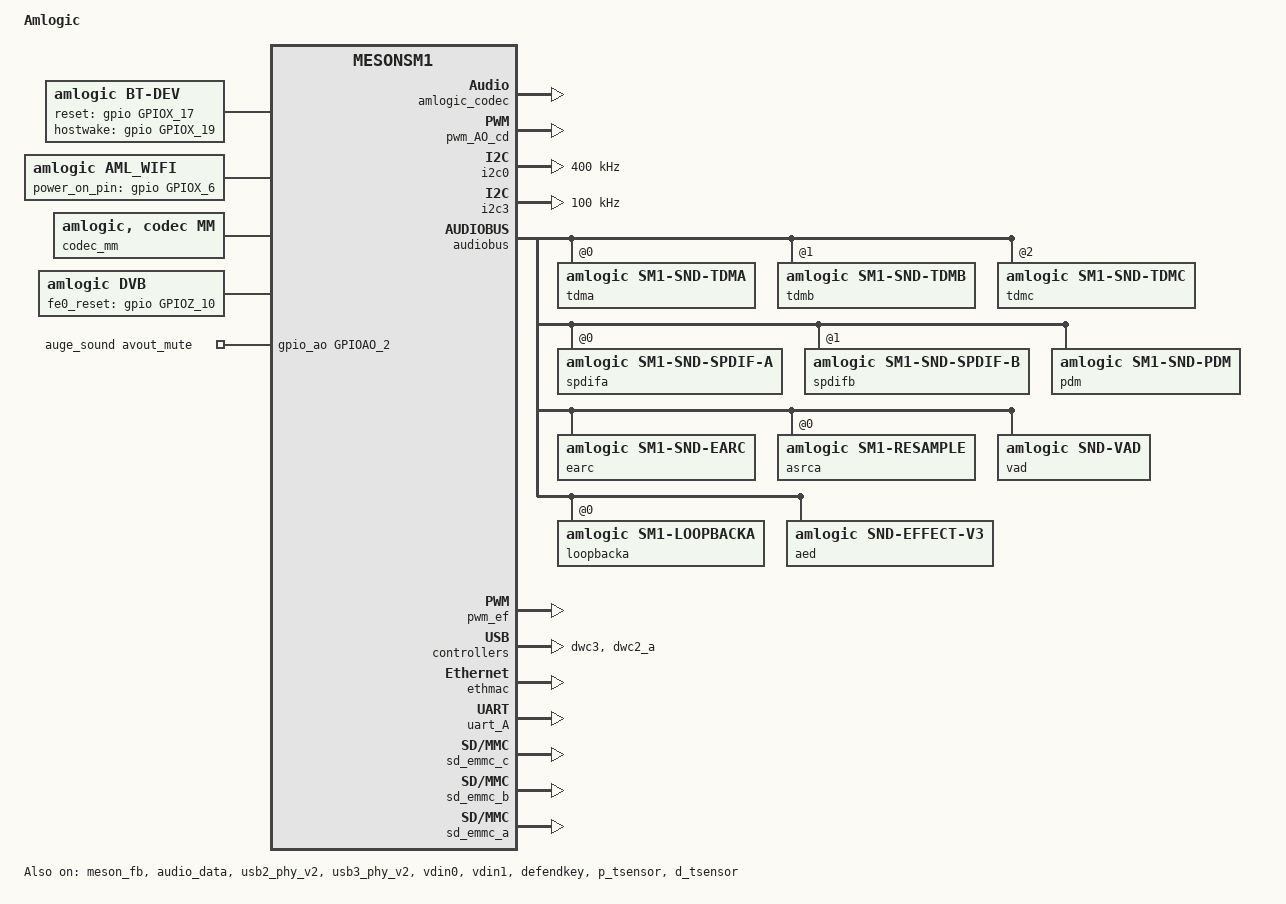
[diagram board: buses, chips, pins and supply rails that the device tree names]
/*
 * arch/arm64/boot/dts/amlogic/sm1_s905x3_ac213.dts
 *
 * Copyright (C) 2017 Amlogic, Inc. All rights reserved.
 *
 * This program is free software; you can redistribute it and/or modify
 * it under the terms of the GNU General Public License as published by
 * the Free Software Foundation; either version 2 of the License, or
 * (at your option) any later version.
 *
 * This program is distributed in the hope that it will be useful, but WITHOUT
 * ANY WARRANTY; without even the implied warranty of MERCHANTABILITY or
 * FITNESS FOR A PARTICULAR PURPOSE.  See the GNU General Public License for
 * more details.
 *
 */

/dts-v1/;

#include "mesonsm1.dtsi"
#include "partition_mbox_normal.dtsi"
#include "mesonsm1_skt-panel.dtsi"

/ {
	model = "Amlogic";
	amlogic-dt-id = "sm1_ac213_2g";
	compatible = "amlogic, g12a";
	interrupt-parent = <&gic>;
	#address-cells = <1>;
	#size-cells = <1>;

	aliases {
		serial0 = &uart_AO;
		serial1 = &uart_A;
		serial2 = &uart_B;
		serial3 = &uart_C;
		serial4 = &uart_AO_B;
		tsensor0 = &p_tsensor;
		tsensor1 = &d_tsensor;
		i2c0 = &i2c0;
		i2c1 = &i2c1;
		i2c2 = &i2c2;
		i2c3 = &i2c3;
		i2c4 = &i2c_AO;
	};

	memory@00000000 {
		device_type = "memory";
		linux,usable-memory = <0x000000 0x80000000>;
	};

	reserved-memory {
		#address-cells = <1>;
		#size-cells = <1>;
		ranges;
		/* global autoconfigured region for contiguous allocations */
		ramoops@0x07400000 {
			compatible = "ramoops";
			reg = <0x07400000 0x00100000>;
			record-size = <0x8000>;
			console-size = <0x8000>;
			ftrace-size = <0x40000>;
		};

		secmon_reserved:linux,secmon {
			compatible = "shared-dma-pool";
			reusable;
			size = <0x400000>;
			alignment = <0x400000>;
			alloc-ranges = <0x05000000 0x400000>;
		};
		secos_reserved:linux,secos {
			status = "disable";
			compatible = "amlogic, aml_secos_memory";
			reg = <0x05300000 0x2000000>;
			no-map;
		};
		logo_reserved:linux,meson-fb {
			compatible = "shared-dma-pool";
			reusable;
			size = <0x800000>;
			alignment = <0x400000>;
			alloc-ranges = <0x7f800000 0x800000>;
		};
		ion_cma_reserved:linux,ion-dev {
			compatible = "shared-dma-pool";
			reusable;
			size = <0x8000000>;
			alignment = <0x400000>;
			alloc-ranges = <0x30000000 0x50000000>;
		};
		//di_reserved:linux,di {
			//compatible = "amlogic, di-mem";
			/* buffer_size = 3621952(yuv422 8bit) */
			/* 4179008(yuv422 10bit full pack mode) */
			/** 10x3621952=34.6M(0x23) support 8bit **/
			/** 10x4736064=45.2M(0x2e) support 12bit **/
			/** 10x4179008=40M(0x28) support 10bit **/
			//size = <0x2800000>;
			//no-map;
		//};
		/*di CMA pool */
		di_cma_reserved:linux,di_cma {
			compatible = "shared-dma-pool";
			reusable;
			/* buffer_size = 3621952(yuv422 8bit)
			 *  | 4736064(yuv422 10bit)
			 *  | 4074560(yuv422 10bit full pack mode)
			 * 10x3621952=34.6M(0x23) support 8bit
			 * 10x4736064=45.2M(0x2e) support 12bit
			 * 10x4074560=40M(0x28) support 10bit
			 */
			size = <0x02800000>;
			alignment = <0x400000>;
		};
		/*  POST PROCESS MANAGER */
		ppmgr_reserved:linux,ppmgr {
			compatible = "shared-dma-pool";
			size = <0x0>;
		};

		codec_mm_cma:linux,codec_mm_cma {
			compatible = "shared-dma-pool";
			reusable;
			/* ion_codec_mm max can alloc size 80M*/
			size = <0x13400000>;
			alignment = <0x400000>;
			linux,contiguous-region;
			alloc-ranges = <0x30000000 0x50000000>;
		};
		/* codec shared reserved */
		codec_mm_reserved:linux,codec_mm_reserved {
			compatible = "amlogic, codec-mm-reserved";
			size = <0x0>;
			alignment = <0x100000>;
			//no-map;
		};
		/*  vdin0 CMA pool */
		//vdin0_cma_reserved:linux,vdin0_cma {
		//	compatible = "shared-dma-pool";
		//	reusable;
		/* 1920x1080x2x4  =16+4 M */
		//	size = <0x04000000>;
		//	alignment = <0x400000>;
		//};
		/*  vdin1 CMA pool */
		vdin1_cma_reserved:linux,vdin1_cma {
			compatible = "shared-dma-pool";
			reusable;
			/* 1920x1080x2x4  =16 M */
			size = <0x04000000>;
			alignment = <0x400000>;
		};
		vm0_cma_reserved:linux,vm0_cma {
			compatible = "shared-dma-pool";
			reusable;
			size = <0x2000000>;
			alignment = <0x400000>;
		};
	};

	amlogic_battery:dummy-battery {
		compatible = "amlogic, dummy-battery";
		status = "disabled";
	};

	amlogic_charger:dummy-charger {
		compatible = "amlogic, dummy-charger";
		status = "disabled";
	};

	gpioleds {
		compatible = "gpio-leds";
		status = "disabled";

		net_red {
			label="net_red";
			/*gpios=<&gpio GPIOA_14 GPIO_ACTIVE_LOW>;*/
			default-state ="on";
		};

		net_green {
			label="net_green";
			/*gpios=<&gpio GPIOA_15 GPIO_ACTIVE_HIGH>;*/
			default-state ="on";
		};

		remote_led {
			label = "remote_led";
			gpios = <&gpio_ao GPIOAO_10 GPIO_ACTIVE_LOW>;
			default-state = "off";
			linux,default-trigger = "rc_feedback";
		};

		sys_led {
			label="sys_led";
			gpios=<&gpio_ao GPIOAO_11 GPIO_ACTIVE_LOW>;
			default-state ="on";
		};
	};

	cvbsout {
		compatible = "amlogic, cvbsout-sm1";
		dev_name = "cvbsout";
		status = "okay";
		clocks = <&clkc CLKID_VCLK2_ENCI
			&clkc CLKID_VCLK2_VENCI0
			&clkc CLKID_VCLK2_VENCI1
			&clkc CLKID_DAC_CLK>;
		clock-names = "venci_top_gate",
			"venci_0_gate",
			"venci_1_gate",
			"vdac_clk_gate";
		/* clk path */
		/* 0:vid_pll vid2_clk */
		/* 1:gp0_pll vid2_clk */
		/* 2:vid_pll vid1_clk */
		/* 3:gp0_pll vid1_clk */
		clk_path = <0>;

		/* performance: reg_address, reg_value */
		/* sm1 */
		performance = <0x1bf0  0x9
			0x1b56  0x333
			0x1b12  0x8080
			0x1b05  0xfd
			0x1c59  0xf850
			0xffff  0x0>; /* ending flag */
		performance_sarft = <0x1bf0  0x9
			0x1b56  0x333
			0x1b12  0x0
			0x1b05  0x9
			0x1c59  0xfc48
			0xffff  0x0>; /* ending flag */
		performance_revB_telecom = <0x1bf0  0x9
			0x1b56  0x546
			0x1b12  0x8080
			0x1b05  0x9
			0x1c59  0xf850
			0xffff  0x0>; /* ending flag */
	};

	bt-dev{
		compatible = "amlogic, bt-dev";
		dev_name = "bt-dev";
		status = "okay";
		gpio_reset = <&gpio       GPIOX_17       GPIO_ACTIVE_HIGH>;
		gpio_hostwake = <&gpio       GPIOX_19       GPIO_ACTIVE_HIGH>;
	};

	wifi{
		compatible = "amlogic, aml_wifi";
		dev_name = "aml_wifi";
		status = "okay";
		interrupt_pin = <&gpio       GPIOX_7       GPIO_ACTIVE_HIGH>;
		irq_trigger_type = "GPIO_IRQ_LOW";
		power_on_pin = <&gpio       GPIOX_6       GPIO_ACTIVE_HIGH>;
		dhd_static_buf;	//if use bcm wifi, config dhd_static_buf
		pinctrl-names = "default";
		pinctrl-0 = <&pwm_e_pins>;
		pwm_config = <&wifi_pwm_conf>;
	};

	wifi_pwm_conf:wifi_pwm_conf{
		pwm_channel1_conf {
			pwms = <&pwm_ef MESON_PWM_0 30541 0>;
			duty-cycle = <15270>;
			times = <10>;
		};
		pwm_channel2_conf {
			pwms = <&pwm_ef MESON_PWM_2 30500 0>;
			duty-cycle = <15250>;
			times = <12>;
		};
	};

	picdec_cma_reserved:linux,picdec {
		compatible = "shared-dma-pool";
		reusable;
		size = <0x0>;
		alignment = <0x0>;
		linux,contiguous-region;
	};

	codec_mm {
		compatible = "amlogic, codec, mm";
		memory-region = <&codec_mm_cma &codec_mm_reserved>;
		dev_name = "codec_mm";
		status = "okay";
	};

	picdec {
		compatible = "amlogic, picdec";
		memory-region = <&picdec_cma_reserved>;
		dev_name = "picdec";
		status = "okay";
	};

	ppmgr {
		compatible = "amlogic, ppmgr";
		memory-region = <&ppmgr_reserved>;
		dev_name = "ppmgr";
		status = "okay";
	};

	deinterlace {
		compatible = "amlogic, deinterlace";
		status = "okay";
		/* 0:use reserved; 1:use cma; 2:use cma as reserved */
		flag_cma = <1>;
		//memory-region = <&di_reserved>;
		memory-region = <&di_cma_reserved>;
		interrupts = <0 46 1
				0 40 1>;
		interrupt-names = "pre_irq", "post_irq";
		clocks = <&clkc CLKID_VPU_CLKB_TMP_COMP>,
			<&clkc CLKID_VPU_CLKB_COMP>;
		clock-names = "vpu_clkb_tmp_composite",
			"vpu_clkb_composite";
		clock-range = <334 667>;
		/* buffer-size = <3621952>;(yuv422 8bit) */
		buffer-size = <4074560>;/*yuv422 fullpack*/
		/* reserve-iomap = "true"; */
		/* if enable nr10bit, set nr10bit-support to 1 */
		post-wr-support = <1>;
		nr10bit-support = <1>;
		nrds-enable = <1>;
		pps-enable = <1>;
	};
	ionvideo {
		compatible = "amlogic, ionvideo";
		dev_name = "ionvideo";
		status = "okay";
	};
	dvb {
		compatible = "amlogic, dvb";
		dev_name = "dvb";
		fe0_mode = "external";
		fe0_demod = "Avl6762";
		fe0_i2c_adap_id = <&i2c3>;
		fe0_demod_i2c_addr = <0x14>;
		fe0_ts = <0>;
		fe0_reset_value = <0>;
		fe0_reset_gpio = <&gpio GPIOZ_10 GPIO_ACTIVE_HIGH>;
		dtv_demod0_ant_poweron_value = <0>;

		ts0 = "serial";
		ts0_control = <0x800>;
		ts0_invert = <0>;
		interrupts = <0 23 1
		0 5 1
		0 21 1
		0 19 1
		0 25 1
		0 18 1
		0 24 1>;
		interrupt-names = "demux0_irq",
		"demux1_irq",
		"demux2_irq",
		"dvr0_irq",
		"dvr1_irq",
		"dvrfill0_fill",
		"dvrfill1_flush";
		pinctrl-names = "s_ts0";
		pinctrl-0 = <&dvb_s_ts0_pins>;
		clocks = <&clkc CLKID_DEMUX
		&clkc CLKID_AHB_ARB0
		&clkc CLKID_DOS_PARSER>;
		clock-names = "demux", "ahbarb0", "parser_top";
	};

	unifykey{
		compatible = "amlogic, unifykey";
		status = "ok";
		unifykey-num = <16>;
		unifykey-index-0 = <&keysn_0>;
		unifykey-index-1 = <&keysn_1>;
		unifykey-index-2 = <&keysn_2>;
		unifykey-index-3 = <&keysn_3>;
		unifykey-index-4 = <&keysn_4>;
		unifykey-index-5 = <&keysn_5>;
		unifykey-index-6 = <&keysn_6>;
		unifykey-index-7 = <&keysn_7>;
		unifykey-index-8 = <&keysn_8>;
		unifykey-index-9 = <&keysn_9>;
		unifykey-index-10= <&keysn_10>;
		unifykey-index-11= <&keysn_11>;
		unifykey-index-12= <&keysn_12>;
		unifykey-index-13= <&keysn_13>;
		unifykey-index-14= <&keysn_14>;
		unifykey-index-15= <&keysn_15>;
		keysn_0: key_0{
			key-name = "usid";
			key-device = "normal";
			key-permit = "read","write","del";
		};
		keysn_1:key_1{
			key-name = "mac";
			key-device = "normal";
			key-permit = "read","write","del";
		};
		keysn_2:key_2{
			key-name = "hdcp";
			key-device = "secure";
			key-type = "sha1";
			key-permit = "read","write","del";
		};
		keysn_3:key_3{
			key-name = "secure_boot_set";
			key-device = "efuse";
			key-permit = "write";
		};
		keysn_4:key_4{
			key-name = "mac_bt";
			key-device = "normal";
			key-permit = "read","write","del";
			key-type  = "mac";
		};
		keysn_5:key_5{
			key-name = "mac_wifi";
			key-device = "normal";
			key-permit = "read","write","del";
			key-type = "mac";
		};
		keysn_6:key_6{
			key-name = "hdcp2_tx";
			key-device = "normal";
			key-permit = "read","write","del";
		};
		keysn_7:key_7{
			key-name = "hdcp2_rx";
			key-device = "normal";
			key-permit = "read","write","del";
		};
		keysn_8:key_8{
			key-name = "widevinekeybox";
			key-device = "secure";
			key-permit = "read","write","del";
		};
		keysn_9:key_9{
			key-name = "deviceid";
			key-device = "normal";
			key-permit = "read","write","del";
		};
		keysn_10:key_10{
			key-name = "hdcp22_fw_private";
			key-device = "secure";
			key-permit = "read","write","del";
		};
		keysn_11:key_11{
			key-name = "PlayReadykeybox25";
			key-device = "secure";
			key-permit = "read","write","del";
		};
		keysn_12:key_12{
			key-name = "prpubkeybox";// PlayReady
			key-device = "secure";
			key-permit = "read","write","del";
		};
		keysn_13:key_13{
			key-name = "prprivkeybox";// PlayReady
			key-device = "secure";
			key-permit = "read","write","del";
		};
		keysn_14:key_14{
			key-name = "attestationkeybox";// attestation key
			key-device = "secure";
			key-permit = "read","write","del";
		};
		keysn_15:key_15{
			key-name = "netflix_mgkid";
			key-device = "secure";
			key-permit = "read","write","del";
		};
	};//End unifykey

	efusekey:efusekey{
		keynum = <4>;
		key0 = <&key_0>;
		key1 = <&key_1>;
		key2 = <&key_2>;
		key3 = <&key_3>;
		key_0:key_0{
			keyname = "mac";
			offset = <0>;
			size = <6>;
		};
		key_1:key_1{
			keyname = "mac_bt";
			offset = <6>;
			size = <6>;
		};
		key_2:key_2{
			keyname = "mac_wifi";
			offset = <12>;
			size = <6>;
		};
		key_3:key_3{
			keyname = "usid";
			offset = <18>;
			size = <16>;
		};
	};//End efusekey

	amlvecm {
		compatible = "amlogic, vecm";
		dev_name = "aml_vecm";
		status = "okay";
		gamma_en = <0>;/*1:enabel ;0:disable*/
		wb_en = <0>;/*1:enabel ;0:disable*/
		cm_en = <0>;/*1:enabel ;0:disable*/
		/*0: 709/601  1: bt2020*/
		tx_op_color_primary = <0>;
	};

	amdolby_vision {
		compatible = "amlogic, dolby_vision_sm1";
		dev_name = "aml_amdolby_vision_driver";
		status = "okay";
		tv_mode = <0>;/*1:enabel ;0:disable*/
	};

	/* Audio Related start */
	pdm_codec:dummy{
		#sound-dai-cells = <0>;
		compatible = "amlogic, pdm_dummy_codec";
		status = "okay";
	};
	dummy_codec:dummy{
		#sound-dai-cells = <0>;
		compatible = "amlogic, aml_dummy_codec";
		status = "okay";
	};
	amlogic_codec:t9015{
		#sound-dai-cells = <0>;
		compatible = "amlogic, aml_codec_T9015";
		reg = <0xFF632000 0x2000>;
		is_auge_used = <1>; /* meson or auge chipset used */
		tocodec_inout = <1>;
		tdmout_index = <1>;
		ch0_sel = <0>;
		ch1_sel = <1>;

		status = "okay";
	};
	audio_effect:eqdrc{
		/*eq_enable = <1>;*/
		/*drc_enable = <1>;*/
		/*
		 * 0:tdmout_a
		 * 1:tdmout_b
		 * 2:tdmout_c
		 * 3:spdifout
		 * 4:spdifout_b
		 */
		eqdrc_module = <1>;
		/* max 0xf, each bit for one lane, usually one lane */
		lane_mask = <0x1>;
		/* max 0xff, each bit for one channel */
		channel_mask = <0x3>;
	};
	auge_sound {
		compatible = "amlogic, g12a-sound-card";
		aml-audio-card,name = "AML-AUGESOUND";

		/*avout mute gpio*/
		avout_mute-gpios = <&gpio_ao GPIOAO_2 GPIO_ACTIVE_HIGH>;

		aml-audio-card,dai-link@0 {
			format = "dsp_a";
			mclk-fs = <512>;
			//continuous-clock;
			//bitclock-inversion;
			//frame-inversion;
			/* master mode */
			bitclock-master = <&tdma>;
			frame-master = <&tdma>;
			/* slave mode */
			/*
			 * bitclock-master = <&tdmacodec>;
			 * frame-master = <&tdmacodec>;
			 */
			suffix-name = "alsaPORT-pcm";
			tdmacpu: cpu {
				sound-dai = <&tdma>;
				dai-tdm-slot-tx-mask =
							<1 1 1 1 1 1 1 1>;
				dai-tdm-slot-rx-mask =
							<1 1 1 1 1 1 1 1>;
				dai-tdm-slot-num = <8>;
				dai-tdm-slot-width = <32>;
				system-clock-frequency = <24576000>;
			};
			tdmacodec: codec {
				sound-dai = <&dummy_codec &dummy_codec>;
			};
		};

		aml-audio-card,dai-link@1 {
			format = "i2s";// "dsp_a";
			mclk-fs = <256>;
			//continuous-clock;
			//bitclock-inversion;
			//frame-inversion;
			/* master mode */
			bitclock-master = <&tdmb>;
			frame-master = <&tdmb>;
			/* slave mode */
			//bitclock-master = <&tdmbcodec>;
			//frame-master = <&tdmbcodec>;
			/* suffix-name, sync with android audio hal
			 * what's the dai link used for
			 */
			suffix-name = "alsaPORT-i2s";
			cpu {
				sound-dai = <&tdmb>;
				dai-tdm-slot-tx-mask = <1 1>;
				dai-tdm-slot-rx-mask = <1 1>;
				dai-tdm-slot-num = <2>;
				/*
				 * dai-tdm-slot-tx-mask =
				 *	<1 1 1 1 1 1 1 1>;
				 * dai-tdm-slot-rx-mask =
				 *	<1 1 1 1 1 1 1 1>;
				 * dai-tdm-slot-num = <8>;
				 */
				dai-tdm-slot-width = <32>;
				system-clock-frequency = <12288000>;
			};
			tdmbcodec: codec {
				sound-dai = <&dummy_codec &dummy_codec
				&amlogic_codec /*&ad82584f_62*/>;
			};
		};

		aml-audio-card,dai-link@2 {
			format = "i2s";
			mclk-fs = <256>;
			//continuous-clock;
			//bitclock-inversion;
			//frame-inversion;
			/* master mode */
			bitclock-master = <&tdmc>;
			frame-master = <&tdmc>;
			/* slave mode */
			//bitclock-master = <&tdmccodec>;
			//frame-master = <&tdmccodec>;
			/* suffix-name, sync with android audio hal used for */
			//suffix-name = "alsaPORT-tdm";
			cpu {
				sound-dai = <&tdmc>;
				dai-tdm-slot-tx-mask = <1 1>;
				dai-tdm-slot-rx-mask = <1 1>;
				dai-tdm-slot-num = <2>;
				dai-tdm-slot-width = <32>;
				system-clock-frequency = <12288000>;
			};
			tdmccodec: codec {
				sound-dai = <&dummy_codec>;
			};
		};

		aml-audio-card,dai-link@3 {
			mclk-fs = <64>;
			/* suffix-name, sync with android audio hal
			 * what's the dai link used for
			 */
			suffix-name = "alsaPORT-pdm";
			cpu {
				sound-dai = <&pdm>;
			};
			codec {
				sound-dai = <&pdm_codec>;
			};
		};

		aml-audio-card,dai-link@4 {
			mclk-fs = <128>;
			/* suffix-name, sync with android audio hal used for */
			suffix-name = "alsaPORT-spdif";
			cpu {
				sound-dai = <&spdifa>;
				system-clock-frequency = <6144000>;
			};
			codec {
				sound-dai = <&dummy_codec>;
			};
		};
		/* spdif_b to hdmi, only playback */
		aml-audio-card,dai-link@5 {
			mclk-fs = <128>;
			continuous-clock;
			/* suffix-name, sync with android audio hal
			 * what's the dai link used for
			 */
			suffix-name = "alsaPORT-spdifb";
			cpu {
				sound-dai = <&spdifb>;
				system-clock-frequency = <6144000>;
			};
			codec {
				sound-dai = <&dummy_codec>;
			};
		};
		aml-audio-card,dai-link@6 {
			mclk-fs = <256>;
			suffix-name = "alsaPORT-earc";
			cpu {
				sound-dai = <&earc>;
				system-clock-frequency = <12288000>;
			};
			codec {
				sound-dai = <&dummy_codec>;
			};
		};

		aml-audio-card,dai-link@7 {
			mclk-fs = <256>;
			continuous-clock;
			suffix-name = "alsaPORT-loopback";
			cpu {
				sound-dai = <&loopbacka>;
				system-clock-frequency = <12288000>;
			};
			codec {
				sound-dai = <&dummy_codec>;
			};
		};
	};
	audiolocker: locker {
		compatible = "amlogic, audiolocker";
		clocks = <&clkaudio CLKID_AUDIO_LOCKER_OUT
				&clkaudio CLKID_AUDIO_LOCKER_IN
				&clkaudio CLKID_AUDIO_MCLK_D
				&clkaudio CLKID_AUDIO_MCLK_E
				&clkc CLKID_MPLL1
				&clkc CLKID_MPLL2>;
		clock-names = "lock_out", "lock_in", "out_src",
					"in_src", "out_calc", "in_ref";
		interrupts = <GIC_SPI 1 IRQ_TYPE_EDGE_RISING>;
		interrupt-names = "irq";
		frequency = <49000000>; /* pll */
		dividor = <49>; /* locker's parent */
		status = "disabled";
	};
	/* Audio Related end */
	p_tsensor: p_tsensor@ff634594 {
		compatible = "amlogic, r1p1-tsensor";
		device_name = "meson-pthermal";
		status = "okay";
		reg = <0xff634800 0x50>,
			<0xff800268 0x4>;
		cal_type = <0x1>;
		cal_a = <324>;
		cal_b = <424>;
		cal_c = <3159>;
		cal_d = <9411>;
		rtemp = <115000>;
		interrupts = <0 35 0>;
		clocks = <&clkc CLKID_TS_COMP>; /* CLKID_TS_COMP>;*/
		clock-names = "ts_comp";
		#thermal-sensor-cells = <1>;
	};

	d_tsensor: d_tsensor@ff800228 {
		compatible = "amlogic, r1p1-tsensor";
		device_name = "meson-dthermal";
		status = "okay";
		reg = <0xff634c00 0x50>,
			<0xff800230 0x4>;
		cal_type = <0x1>;
		cal_a = <324>;
		cal_b = <424>;
		cal_c = <3159>;
		cal_d = <9411>;
		rtemp = <115000>;
		interrupts = <0 36 0>;
		clocks = <&clkc CLKID_TS_COMP>; /* CLKID_TS_COMP>;*/
		clock-names = "ts_comp";
		#thermal-sensor-cells = <1>;
	};

	meson_cooldev: meson-cooldev@0 {
			status = "okay";
			compatible = "amlogic, meson-cooldev";
			device_name = "mcooldev";
			cooling_devices {
				cpufreq_cool_cluster0 {
					min_state = <1000000>;
					dyn_coeff = <125>;
					cluster_id = <0>;
					node_name = "cpufreq_cool0";
					device_type = "cpufreq";
				};
				cpucore_cool_cluster0 {
					min_state = <1>;
					dyn_coeff = <0>;
					cluster_id = <0>;
					node_name = "cpucore_cool0";
					device_type = "cpucore";
				};
				gpufreq_cool {
					min_state = <400>;
					dyn_coeff = <215>;
					gpu_pp = <2>;
					cluster_id = <0>;
					node_name = "gpufreq_cool0";
					device_type = "gpufreq";
				};
				gpucore_cool {
					min_state = <1>;
					dyn_coeff = <0>;
					cluster_id = <0>;
					node_name = "gpucore_cool0";
					device_type = "gpucore";
				};
			};
			cpufreq_cool0:cpufreq_cool0 {
				#cooling-cells = <2>; /* min followed by max */
			};
			cpucore_cool0:cpucore_cool0 {
				#cooling-cells = <2>; /* min followed by max */
			};
			gpufreq_cool0:gpufreq_cool0 {
				#cooling-cells = <2>; /* min followed by max */
			};
			gpucore_cool0:gpucore_cool0 {
				#cooling-cells = <2>; /* min followed by max */
			};
		};
		/*meson cooling devices end*/

	thermal-zones {
		soc_thermal: soc_thermal {
			polling-delay = <1000>;
			polling-delay-passive = <100>;
			sustainable-power = <1410>;
			thermal-sensors = <&p_tsensor 0>;
			trips {
				pswitch_on: trip-point@0 {
					temperature = <60000>;
					hysteresis = <5000>;
					type = "passive";
				};
				pcontrol: trip-point@1 {
					temperature = <75000>;
					hysteresis = <5000>;
					type = "passive";
				};
				phot: trip-point@2 {
					temperature = <85000>;
					hysteresis = <5000>;
					type = "hot";
				};
				pcritical: trip-point@3 {
					temperature = <110000>;
					hysteresis = <1000>;
					type = "critical";
				};
			};

			cooling-maps {
				cpufreq_cooling_map {
					trip = <&pcontrol>;
					cooling-device = <&cpufreq_cool0 0 4>;
					contribution = <1024>;
				};
				cpucore_cooling_map {
					trip = <&pcontrol>;
					cooling-device = <&cpucore_cool0 0 3>;
					contribution = <1024>;
				};
				gpufreq_cooling_map {
					trip = <&pcontrol>;
					cooling-device = <&gpufreq_cool0 0 4>;
					contribution = <1024>;
				};
				gpucore_cooling_map {
					trip = <&pcontrol>;
					cooling-device = <&gpucore_cool0 0 2>;
					contribution = <1024>;
				};
			};
		};
		ddr_thermal: ddr_thermal {
			polling-delay = <2000>;
			polling-delay-passive = <1000>;
			sustainable-power = <1410>;
			thermal-sensors = <&d_tsensor 1>;
			trips {
				dswitch_on: trip-point@0 {
					temperature = <60000>;
					hysteresis = <5000>;
					type = "passive";
				};
				dcontrol: trip-point@1 {
					temperature = <75000>;
					hysteresis = <5000>;
					type = "passive";
				};
				dhot: trip-point@2 {
					temperature = <85000>;
					hysteresis = <5000>;
					type = "hot";
				};
				dcritical: trip-point@3 {
					temperature = <110000>;
					hysteresis = <1000>;
					type = "critical";
				};
			};

		};
	};
	/*thermal zone end*/

	cpu_opp_table0: cpu_opp_table0 {
		compatible = "operating-points-v2";
		opp-shared;

		opp00 {
			opp-hz = /bits/ 64 <100000000>;
			opp-microvolt = <730000>;
		};
		opp01 {
			opp-hz = /bits/ 64 <250000000>;
			opp-microvolt = <730000>;
		};
		opp02 {
			opp-hz = /bits/ 64 <500000000>;
			opp-microvolt = <730000>;
		};
		opp03 {
			opp-hz = /bits/ 64 <667000000>;
			opp-microvolt = <750000>;
		};
		opp04 {
			opp-hz = /bits/ 64 <1000000000>;
			opp-microvolt = <770000>;
		};
		opp05 {
			opp-hz = /bits/ 64 <1200000000>;
			opp-microvolt = <780000>;
		};
		opp06 {
			opp-hz = /bits/ 64 <1404000000>;
			opp-microvolt = <790000>;
		};
		opp07 {
			opp-hz = /bits/ 64 <1500000000>;
			opp-microvolt = <800000>;
		};
		opp08 {
			opp-hz = /bits/ 64 <1608000000>;
			opp-microvolt = <810000>;
		};
		opp09 {
			opp-hz = /bits/ 64 <1704000000>;
			opp-microvolt = <850000>;
		};
		opp10 {
			opp-hz = /bits/ 64 <1800000000>;
			opp-microvolt = <900000>;
		};
		opp11 {
			opp-hz = /bits/ 64 <1908000000>;
			opp-microvolt = <950000>;
		};
	};

	cpufreq-meson {
		compatible = "amlogic, cpufreq-meson";
		pinctrl-names = "default";
		pinctrl-0 = <&pwm_ao_d_pins3>;
		status = "okay";
	};

}; /* end of / */

&meson_fb {
	status = "okay";
	display_size_default = <1920 1080 1920 2160 32>;
	mem_size = <0x00800000 0x1980000 0x100000 0x100000 0x800000>;
	logo_addr = "0x7f800000";
	mem_alloc = <0>;
	pxp_mode = <0>; /** 0:normal mode 1:pxp mode */
};

&pwm_AO_cd {
		status = "okay";
};

&i2c0 {
	status = "okay";
	pinctrl-names="default";
	pinctrl-0=<&i2c0_master_pins2>;
	clock-frequency = <400000>;

	gt9xx@5d {
		compatible = "goodix,gt9xx";
		status = "disabled";
		reg = <0x5d>;
		reset-gpio = <&gpio GPIOZ_9 0x00>;
		irq-gpio = <&gpio GPIOZ_3 0x00>;
	};

	ftxx@38 {
		compatible = "focaltech,fts";
		status = "disabled";
		reg = <0x38>;
		reset-gpio = <&gpio GPIOZ_9 0x00>;
		irq-gpio = <&gpio GPIOZ_3 0x00>;
		x_max = <600>;
		y_max = <1024>;
		max-touch-number = <10>;
	};
};

/*&i2c2 {
 *	status = "okay";
 *	pinctrl-names="default";
 *	pinctrl-0=<&i2c2_master_pins2>;
 *	clock-frequency = <300000>;
 *};
 */

&i2c3 {
	status = "ok";
	pinctrl-names="default";
	pinctrl-0=<&i2c3_master_pins2>;
	clock-frequency = <100000>; /* default 100k */

	/* for ref board */
	ad82584f_62: ad82584f_62@62 {
		compatible = "ESMT, ad82584f";
		#sound-dai-cells = <0>;
		reg = <0x31>;
		status = "disabled";
		reset_pin = <&gpio GPIOA_5 0>;
		no_mclk;
	};

	bl_extern_i2c {
		compatible = "bl_extern, i2c";
		dev_name = "lp8556";
		reg = <0x2c>;
		status = "disabled";
	};
};

&audiobus {
	tdma: tdm@0 {
		compatible = "amlogic, sm1-snd-tdma";
		#sound-dai-cells = <0>;
		dai-tdm-lane-slot-mask-in = <0 1>;
		dai-tdm-oe-lane-slot-mask-out = <1 0>;
		dai-tdm-clk-sel = <0>;
		clocks = <&clkaudio CLKID_AUDIO_MCLK_A
				&clkc CLKID_MPLL0>;
		clock-names = "mclk", "clk_srcpll";
		pinctrl-names = "tdm_pins";
		pinctrl-0 = <&tdmout_a &tdmin_a>;

		status = "okay";
	};

	tdmb: tdm@1 {
		compatible = "amlogic, sm1-snd-tdmb";
		#sound-dai-cells = <0>;
		dai-tdm-lane-slot-mask-in = <0 1 0 0>;
		dai-tdm-lane-slot-mask-out = <1 0 0 0>;
		dai-tdm-clk-sel = <1>;
		clocks = <&clkaudio CLKID_AUDIO_MCLK_B
				&clkc CLKID_MPLL1
				&clkc CLKID_MPLL0
				&clkaudio CLKID_AUDIO_SPDIFOUT_A>;
		clock-names = "mclk", "clk_srcpll",
			"samesource_srcpll", "samesource_clk";
		pinctrl-names = "tdm_pins";
		pinctrl-0 = <&tdmb_mclk &tdmout_b &tdmin_b>;

		mclk_pad = <0>;  /* 0: mclk_0; 1: mclk_1 */

		/*
		 * 0: tdmout_a;
		 * 1: tdmout_b;
		 * 2: tdmout_c;
		 * 3: spdifout;
		 * 4: spdifout_b;
		 */
		samesource_sel = <3>;

		/*enable default mclk(12.288M), before extern codec start*/
		start_clk_enable = <1>;

		/*tdm clk tuning enable*/
		clk_tuning_enable = <1>;

		status = "okay";
	};

	tdmc: tdm@2 {
		compatible = "amlogic, sm1-snd-tdmc";
		#sound-dai-cells = <0>;
		dai-tdm-lane-slot-mask-in = <1 0 0 0>;
		#dai-tdm-lane-slot-mask-out = <1 0 1 1>;
		#dai-tdm-lane-oe-slot-mask-in = <0 0 0 0>;
		#dai-tdm-lane-oe-slot-mask-out = <1 0 0 0>;
		dai-tdm-clk-sel = <2>;

		clocks = <&clkaudio CLKID_AUDIO_MCLK_C
				&clkc CLKID_MPLL2>;
		clock-names = "mclk", "clk_srcpll";
		pinctrl-names = "tdm_pins";
		pinctrl-0 = <&tdmc_mclk &tdmout_c &tdmin_c>;
		mclk_pad = <0>;  /* 0: mclk_0; 1: mclk_1 */
		status = "okay";
	};

	tdmlb:tdm@3 {
		compatible = "amlogic, sm1-snd-tdmlb";
		#sound-dai-cells = <0>;

		dai-tdm-lane-lb-slot-mask-in = <1 0 0 0>;
		dai-tdm-clk-sel = <1>;

		clocks = <&clkaudio CLKID_AUDIO_MCLK_B
				&clkc CLKID_MPLL1>;
		clock-names = "mclk", "clk_srcpll";

		/*
		 * select tdmin_lb src;
		 * AXG
		 *  0: TDMOUTA
		 *  1: TDMOUTB
		 *  2: TDMOUTC
		 *  3: PAD_TDMINA
		 *  4: PAD_TDMINB
		 *  5: PAD_TDMINC
		 *
		 * G12A/G12B
		 *  0: TDMOUTA
		 *  1: TDMOUTB
		 *  2: TDMOUTC
		 *  3: PAD_TDMINA_DIN*
		 *  4: PAD_TDMINB_DIN*
		 *  5: PAD_TDMINC_DIN*
		 *  6: PAD_TDMINA_D*, oe pin
		 *  7: PAD_TDMINB_D*, oe pin
		 *
		 * TL1/SM1
		 *  0: TDMOUTA
		 *  1: TDMOUTB
		 *  2: TDMOUTC
		 *  3: PAD_TDMINA_DIN*
		 *  4: PAD_TDMINB_DIN*
		 *  5: PAD_TDMINC_DIN*
		 *  6: PAD_TDMINA_D*
		 *  7: PAD_TDMINB_D*
		 *  8: PAD_TDMINC_D*
		 *  9: HDMIRX_I2S
		 *  10: ACODEC_ADC
		 */
		lb-src-sel = <1>;

		status = "disabled";
	};

	spdifa: spdif@0 {
		compatible = "amlogic, sm1-snd-spdif-a";
		#sound-dai-cells = <0>;
		clocks = <&clkc CLKID_MPLL0
				&clkc CLKID_FCLK_DIV4
				&clkaudio CLKID_AUDIO_GATE_SPDIFIN
				&clkaudio CLKID_AUDIO_GATE_SPDIFOUT_A
				&clkaudio CLKID_AUDIO_SPDIFIN
				&clkaudio CLKID_AUDIO_SPDIFOUT_A>;
		clock-names = "sysclk", "fixed_clk", "gate_spdifin",
				"gate_spdifout", "clk_spdifin", "clk_spdifout";
		interrupts =
				<GIC_SPI 151 IRQ_TYPE_EDGE_RISING>;

		interrupt-names = "irq_spdifin";
		pinctrl-names = "spdif_pins";
		pinctrl-0 = <&spdifout &spdifin>;

		/*spdif clk tuning enable*/
		clk_tuning_enable = <1>;

		status = "okay";
	};
	spdifb: spdif@1 {
		compatible = "amlogic, sm1-snd-spdif-b";
		#sound-dai-cells = <0>;
		clocks = <&clkc CLKID_MPLL0 /*CLKID_HIFI_PLL*/
				&clkaudio CLKID_AUDIO_GATE_SPDIFOUT_B
				&clkaudio CLKID_AUDIO_SPDIFOUT_B>;
		clock-names = "sysclk",
				"gate_spdifout", "clk_spdifout";

		status = "okay";
	};
	pdm: pdm {
		compatible = "amlogic, sm1-snd-pdm";
		#sound-dai-cells = <0>;

		clocks = <&clkaudio CLKID_AUDIO_GATE_PDM
			&clkc CLKID_FCLK_DIV3
			&clkc CLKID_MPLL3
			&clkaudio CLKID_AUDIO_PDMIN0
			&clkaudio CLKID_AUDIO_PDMIN1>;
		clock-names = "gate",
			"sysclk_srcpll",
			"dclk_srcpll",
			"pdm_dclk",
			"pdm_sysclk";

		pinctrl-names = "pdm_pins";
		pinctrl-0 = <&pdmin>;

		/* mode 0~4, defalut:1 */
		filter_mode = <1>;
		status = "okay";
	};

	earc:earc {
		compatible = "amlogic, sm1-snd-earc";
		#sound-dai-cells = <0>;

		clocks = <&clkaudio CLKID_AUDIO_GATE_EARCRX
			&clkaudio CLKID_EARCRX_CMDC
			&clkaudio CLKID_EARCRX_DMAC
			&clkc CLKID_FCLK_DIV5
			&clkc CLKID_FCLK_DIV3
			>;
		clock-names = "rx_gate",
			"rx_cmdc",
			"rx_dmac",
			"rx_cmdc_srcpll",
			"rx_dmac_srcpll";

		interrupts = <
			GIC_SPI 88 IRQ_TYPE_EDGE_RISING
			GIC_SPI 87 IRQ_TYPE_EDGE_RISING
		>;
		interrupt-names = "rx_cmdc", "rx_dmac";

		status = "okay";
	};

	asrca: resample@0 {
		compatible = "amlogic, sm1-resample";
		clocks = <&clkc CLKID_MPLL3
				&clkaudio CLKID_AUDIO_MCLK_F
				&clkaudio CLKID_AUDIO_RESAMPLE_A>;
		clock-names = "resample_pll", "resample_src", "resample_clk";
		/*same with toddr_src
		 *	TDMIN_A, 0
		 *	TDMIN_B, 1
		 *	TDMIN_C, 2
		 *	SPDIFIN, 3
		 *	PDMIN,  4
		 *	NONE,
		 *	TDMIN_LB, 6
		 *	LOOPBACK, 7
		 */
		resample_module = <4>;
		status = "okay";
	};

	vad:vad {
		compatible = "amlogic, snd-vad";
		#sound-dai-cells = <0>;

		clocks = <&clkaudio CLKID_AUDIO_GATE_TOVAD
			&clkc CLKID_FCLK_DIV5
			&clkaudio CLKID_AUDIO_VAD>;
		clock-names = "gate", "pll", "clk";

		interrupts = <GIC_SPI 155 IRQ_TYPE_EDGE_RISING
				GIC_SPI 48 IRQ_TYPE_EDGE_RISING>;
		interrupt-names = "irq_wakeup", "irq_frame_sync";

		/*
		 * Data src sel:
		 * 0: tdmin_a;
		 * 1: tdmin_b;
		 * 2: tdmin_c;
		 * 3: spdifin;
		 * 4: pdmin;
		 * 5: loopback_b;
		 * 6: tdmin_lb;
		 * 7: loopback_a;
		 */
		src = <4>;

		/*
		 * deal with hot word in user space or kernel space
		 * 0: in user space
		 * 1: in kernel space
		 */
		level = <1>;

		status = "okay";
	};

	loopbacka:loopback@0 {
		compatible = "amlogic, sm1-loopbacka";
		#sound-dai-cells = <0>;

		clocks = <&clkaudio CLKID_AUDIO_GATE_PDM
			&clkc CLKID_FCLK_DIV3
			&clkc CLKID_MPLL3
			&clkaudio CLKID_AUDIO_PDMIN0
			&clkaudio CLKID_AUDIO_PDMIN1
			&clkc CLKID_MPLL0
			&clkaudio CLKID_AUDIO_MCLK_A>;
		clock-names = "pdm_gate",
			"pdm_sysclk_srcpll",
			"pdm_dclk_srcpll",
			"pdm_dclk",
			"pdm_sysclk",
			"tdminlb_mpll",
			"tdminlb_mclk";

		/* datain src
		 * 0: tdmin_a;
		 * 1: tdmin_b;
		 * 2: tdmin_c;
		 * 3: spdifin;
		 * 4: pdmin;
		 */
		datain_src = <4>;
		datain_chnum = <2>;
		datain_chmask = <0x3>;
		/* config which data pin for loopback */
		datain-lane-mask-in = <1 0 0 0>;

		/* calc mclk for datalb */
		mclk-fs = <256>;

		/* tdmin_lb src
		 * 0: tdmoutA
		 * 1: tdmoutB
		 * 2: tdmoutC
		 * 3: PAD_TDMINA_DIN*, refer to core pinmux
		 * 4: PAD_TDMINB_DIN*, refer to core pinmux
		 * 5: PAD_TDMINC_DIN*, refer to core pinmux
		 * 6: PAD_TDMINA_D*, oe, refer to core pinmux
		 * 7: PAD_TDMINB_D*, oe, refer to core pinmux
		 */
		/* if tdmin_lb >= 3, use external loopback */
		datalb_src = <1>;
		datalb_chnum = <2>;
		datalb_chmask = <0x3>;
		/* config which data pin as loopback */
		datalb-lane-mask-in = <1 0 0 0>;

		status = "okay";
	};

	loopbackb:loopback@1 {
		compatible = "amlogic, sm1-loopbackb";
		#sound-dai-cells = <0>;

		clocks = <&clkaudio CLKID_AUDIO_GATE_PDM
			&clkc CLKID_FCLK_DIV3
			&clkc CLKID_MPLL3
			&clkaudio CLKID_AUDIO_PDMIN0
			&clkaudio CLKID_AUDIO_PDMIN1
			&clkc CLKID_MPLL0
			&clkaudio CLKID_AUDIO_MCLK_A>;
		clock-names = "pdm_gate",
			"pdm_sysclk_srcpll",
			"pdm_dclk_srcpll",
			"pdm_dclk",
			"pdm_sysclk",
			"tdminlb_mpll",
			"tdminlb_mclk";

		/* calc mclk for datain_lb */
		mclk-fs = <256>;

		/* datain src
		 * 0: tdmin_a;
		 * 1: tdmin_b;
		 * 2: tdmin_c;
		 * 3: spdifin;
		 * 4: pdmin;
		 */
		datain_src = <4>;
		datain_chnum = <4>;
		datain_chmask = <0xf>;
		/* config which data pin for loopback */
		datain-lane-mask-in = <1 0 1 0>;

		/* tdmin_lb src
		 * 0: tdmoutA
		 * 1: tdmoutB
		 * 2: tdmoutC
		 * 3: PAD_TDMINA_DIN*, refer to core pinmux
		 * 4: PAD_TDMINB_DIN*, refer to core pinmux
		 * 5: PAD_TDMINC_DIN*, refer to core pinmux
		 * 6: PAD_TDMINA_D*, oe, refer to core pinmux
		 * 7: PAD_TDMINB_D*, oe, refer to core pinmux
		 */
		/* if tdmin_lb >= 3, use external loopback */
		datalb_src = <1>;
		datalb_chnum = <2>;
		datalb_chmask = <0x3>;
		/* config which data pin as loopback */
		datalb-lane-mask-in = <1 0 0 0>;

		status = "disabled";
	};
	aed:effect {
		compatible = "amlogic, snd-effect-v3";
		#sound-dai-cells = <0>;
		clocks = <&clkaudio CLKID_AUDIO_GATE_EQDRC
			&clkc CLKID_FCLK_DIV5
			&clkaudio CLKID_AUDIO_EQDRC>;
		clock-names = "gate", "srcpll", "eqdrc";
		/*
		 * 0:tdmout_a
		 * 1:tdmout_b
		 * 2:tdmout_c
		 * 3:spdifout
		 * 4:spdifout_b
		 */
		eqdrc_module = <1>;
		/* max 0xf, each bit for one lane, usually one lane */
		lane_mask = <0x1>;
		/* max 0xff, each bit for one channel */
		channel_mask = <0x3>;
		status = "okay";
	};
}; /* end of audiobus */

&pinctrl_periphs {
	tdmout_a: tdmout_a {
		mux { /* GPIOX_11, GPIOX_10, GPIOX_9 */
			groups = "tdma_sclk",
				"tdma_fs",
				"tdma_dout0";
			function = "tdma_out";
		};
	};

	tdmin_a: tdmin_a {
		mux { /* GPIOX_8 */
			groups = "tdma_din1";
			function = "tdma_in";
		};
	};

	tdmb_mclk: tdmb_mclk {
		mux {
			groups = "mclk0_a";
			function = "mclk0";
			drive-strength = <2>;
		};
	};
	tdmout_b: tdmout_b {
		mux { /* GPIOA_1, GPIOA_2, GPIOA_3 */
			groups = "tdmb_sclk",
				"tdmb_fs",
				"tdmb_dout0";
			function = "tdmb_out";
			drive-strength = <2>;
		};
	};

	tdmin_b:tdmin_b {
		mux { /* GPIOA_4 */
			groups = "tdmb_din1"
				/*,"tdmb_slv_sclk", "tdmb_slv_fs"*/;
			function = "tdmb_in";
			drive-strength = <2>;
		};
	};

	tdmc_mclk: tdmc_mclk {
		mux { /* GPIOA_11 */
			groups = "mclk1_a";
			function = "mclk1";
		};
	};

	tdmout_c:tdmout_c {
		mux { /* GPIOA_12, GPIOA_13, GPIOA_8, GPIOA_7*/
			groups = "tdmc_sclk_a",
				"tdmc_fs_a",
				"tdmc_dout0_a"
				/*,	"tdmc_dout2",
				 * "tdmc_dout3"
				 */;
			function = "tdmc_out";
		};
	};

	tdmin_c:tdmin_c {
		mux { /* GPIOA_10 */
			groups = "tdmc_din0_a";
			function = "tdmc_in";
		};
	};

	spdifin: spdifin {
		mux {/* GPIOH_5 */
			groups = "spdif_in_h";
			function = "spdif_in";
		};
	};

	pdmin: pdmin {
		mux { /* GPIOZ_2, GPIOZ_3, GPIOZ_4, GPIOZ_5, GPIOZ_6 */
			groups = "pdm_din0_z",
			"pdm_din1_z",
			"pdm_din2_z",
			"pdm_din3_z",
			"pdm_dclk_z";
			function = "pdm";
		};
	};

	bl_pwm_off_pins:bl_pwm_off_pin {
		mux {
			pins = "GPIOH_5";
			function = "gpio_periphs";
			output-high;
		};
	};

	clk12_24_z_pins:clk12_24_z_pins {
		mux {
			groups = "clk12_24_z";
			function = "clk12_24_ee";
			drive-strength = <3>;
		};
	};

	gen_clk_ee_z: gen_clk_ee_z {
		mux {
			groups="gen_clk_ee_z";
			function="gen_clk_ee";
			drive-strength = <3>;
		};
	};

	cam_dvp_pins:cam_dvp_pins {
		mux {
			groups = "bt656_a_vs", "bt656_a_hs", "bt656_a_clk",
				"bt656_a_din0", "bt656_a_din1", "bt656_a_din2",
				"bt656_a_din3", "bt656_a_din4", "bt656_a_din5",
				"bt656_a_din6", "bt656_a_din7";
			function = "bt656";
		};
	};

	spdifout: spdifout {
		mux { /* GPIOH_4 */
			groups = "spdif_out_h";
			function = "spdif_out";
		};
	};

}; /* end of pinctrl_periphs */

//&pinctrl_aobus {
//	spdifout: spdifout {
//		mux { /* gpiao_10 */
//			groups = "spdif_out_ao";
//			function = "spdif_out_ao";
//		};
//	};
//};  /* end of pinctrl_aobus */

&audio_data {
	status = "okay";
};

/* Audio Related End */

&pwm_ef {
	status = "okay";
};

&dwc3 {
	status = "okay";
};

&usb2_phy_v2 {
	status = "okay";
	portnum = <2>;
};

&usb3_phy_v2 {
	status = "okay";
	portnum = <1>;
	otg = <0>;
};

&dwc2_a {
	status = "okay";
	/** 0: normal, 1: otg+dwc3 host only, 2: otg+dwc3 device only*/
	controller-type = <1>;
};
&ethmac {
	status = "okay";
	pinctrl-names = "internal_eth_pins", "internal_gpio_pins";
	pinctrl-0 = <&internal_eth_pins>;
	pinctrl-1 = <&internal_gpio_pins>;
	mc_val = <0x4be04>;

	internal_phy=<1>;
};

&uart_A {
	status = "okay";
};

/*if you want to use vdin just modify status to "ok"*/
&vdin0 {
	/*memory-region = <&vdin0_cma_reserved>;*/
	status = "okay";
	/*vdin write mem color depth support:
	 *bit0:support 8bit
	 *bit1:support 9bit
	 *bit2:support 10bit
	 *bit3:support 12bit
	 *bit4:support yuv422 10bit full pack mode (from txl new add)
	 */
	tv_bit_mode = <0x15>;
};
&vdin1 {
	memory-region = <&vdin1_cma_reserved>;
	status = "okay";
	/*vdin write mem color depth support:
	 *bit0:support 8bit
	 *bit1:support 9bit
	 *bit2:support 10bit
	 *bit3:support 12bit
	 */
	tv_bit_mode = <1>;
};


&sd_emmc_c {
	status = "okay";
	emmc {
		caps = "MMC_CAP_8_BIT_DATA",
			 "MMC_CAP_MMC_HIGHSPEED",
			 "MMC_CAP_SD_HIGHSPEED",
			 "MMC_CAP_NONREMOVABLE",
			/* "MMC_CAP_1_8V_DDR", */
			 "MMC_CAP_HW_RESET",
			 "MMC_CAP_ERASE",
			 "MMC_CAP_CMD23",
			 "MMC_CAP_DRIVER_TYPE_D";
		caps2 = "MMC_CAP2_HS200";
		/*MMC_CAP2_HS400"*/
		f_min = <400000>;
		f_max = <200000000>;
	};
};

&sd_emmc_b {
	status = "okay";
	sd {
		caps = "MMC_CAP_4_BIT_DATA",
			 "MMC_CAP_MMC_HIGHSPEED",
			 "MMC_CAP_SD_HIGHSPEED";
		f_min = <400000>;
		f_max = <50000000>;
	};
};


&sd_emmc_a {
	status = "okay";
	sdio {
		caps = "MMC_CAP_4_BIT_DATA",
			 "MMC_CAP_MMC_HIGHSPEED",
			 "MMC_CAP_SD_HIGHSPEED",
			 "MMC_CAP_NONREMOVABLE",
			 "MMC_CAP_UHS_SDR12",
			 "MMC_CAP_UHS_SDR25",
			 "MMC_CAP_UHS_SDR50",
			 "MMC_CAP_UHS_SDR104",
			 "MMC_PM_KEEP_POWER",
			 "MMC_CAP_SDIO_IRQ";
		f_min = <400000>;
		f_max = <200000000>;
	};
};

&nand {
	status = "disabled";
	plat-names = "bootloader","nandnormal";
	plat-num = <2>;
	plat-part-0 = <&bootloader>;
	plat-part-1 = <&nandnormal>;
	bootloader: bootloader{
		enable_pad ="ce0";
		busy_pad = "rb0";
		timming_mode = "mode5";
		bch_mode = "bch8_1k";
		t_rea = <20>;
		t_rhoh = <15>;
		chip_num = <1>;
		part_num = <0>;
		rb_detect = <1>;
	};
	nandnormal: nandnormal{
		enable_pad ="ce0";
		busy_pad = "rb0";
		timming_mode = "mode5";
		bch_mode = "bch8_1k";
		plane_mode = "twoplane";
		t_rea = <20>;
		t_rhoh = <15>;
		chip_num = <2>;
		part_num = <3>;
		partition = <&nand_partitions>;
		rb_detect = <1>;
	};
	nand_partitions:nand_partition{
		/*
		 * if bl_mode is 1, tpl size was generate by
		 * fip_copies * fip_size which
		 * will not skip bad when calculating
		 * the partition size;
		 *
		 * if bl_mode is 0,
		 * tpl partition must be comment out.
		 */
		tpl{
			offset=<0x0 0x0>;
			size=<0x0 0x0>;
		};
		logo{
			offset=<0x0 0x0>;
			size=<0x0 0x200000>;
		};
		recovery{
			offset=<0x0 0x0>;
			size=<0x0 0x1000000>;
		};
		boot{
			offset=<0x0 0x0>;
			size=<0x0 0x1000000>;
		};
		system{
			offset=<0x0 0x0>;
			size=<0x0 0x4000000>;
		};
		data{
			offset=<0xffffffff 0xffffffff>;
			size=<0x0 0x0>;
		};
	};
};

&pcie_A {
	reset-gpio = <&gpio GPIOX_7 GPIO_ACTIVE_HIGH>;
	status = "disable";
};

&meson_cooldev {
	status = "okay";
};

&saradc {
	status = "disabled";
};

&defendkey {
	status = "okay";
};

&pinctrl_aobus {
	dvb_s_ts0_pins: dvb_s_ts0_pins {
		tsin_a {
			groups = "tsin_a_sop_ao",
				"tsin_a_valid_ao",
				"tsin_a_clk_ao",
				"tsin_a_din0_ao";
			function = "tsin_a_ao";
		};
	};
};
